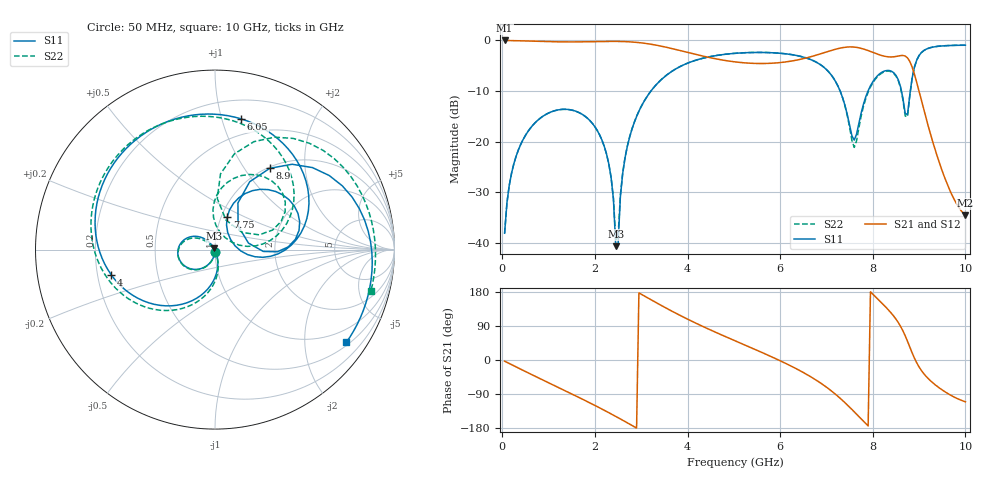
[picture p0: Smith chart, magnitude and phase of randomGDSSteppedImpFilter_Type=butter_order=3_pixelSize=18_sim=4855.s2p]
! freq	dB(S11)	phase(S11)	dB(S12)	phase(S12)
!  dB(S21)	phase(S21)	dB(S22)	phase(S22)
!S-par simulation data
#  GHz  S  DB  R 50
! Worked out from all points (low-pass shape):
!   200 points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, 50 MHz to 10 GHz, reference 50 ohm
!   highest |S21| = -0.01 dB at 50 MHz (marker M1); lowest = -34.6 dB at 10 GHz (marker M2)
!   |S21| within 3 dB of the highest: start of sweep to 4.287 GHz; 6.745 GHz to 8.201 GHz (1.456 GHz wide, 19.5 % of centre) (the widest 2 of 3)
!   lowest |S11| = -40.7 dB at 2.45 GHz (marker M3), VSWR 1.02, Z = 49.4 + j0.727 ohm
!   |S11| at or under -10 dB: start of sweep to 3.212 GHz; 7.295 GHz to 7.898 GHz (603.1 MHz wide, 7.94 % of centre); 8.619 GHz to 8.811 GHz (192.9 MHz wide, 2.21 % of centre)
!   |S22| runs from -39.4 to -0.9 dB; largest |S21 - S12| = 0
!   S11 on the Smith chart (normalised r, x): 50 MHz: 1.00, -0.02; 4 GHz: 0.26, -0.11; 6.05 GHz: 0.36, +1.16; 7.75 GHz: 1.07, +0.40; 8.9 GHz: 1.02, +1.32; 10 GHz: 0.58, -3.05
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0.05  -38.13 -92.6  -0.01 -3.1  -0.01 -3.1  -38.13 -92.5
0.2  -26.25 -102.3  -0.03 -12.3  -0.03 -12.3  -26.25 -102.0
0.55  -18.06 -124.3  -0.11 -33.4  -0.11 -33.4  -18.06 -123.4
1.75  -14.76 163.5  -0.27 -104.6  -0.27 -104.6  -14.76 167.0
2.25  -22.44 132.5  -0.19 -135.7  -0.19 -135.7  -22.44 139.2
2.4  -31.40 124.5  -0.19 -145.5  -0.19 -145.5  -31.30 137.8
2.45  -40.69 127.3  -0.19 -148.9  -0.19 -148.9  -39.40 157.0
2.75  -19.10 -83.1  -0.28 -169.2  -0.28 -169.2  -19.06 -81.2
3.4  -8.04 -127.8  -1.07 146.1  -1.07 146.1  -8.03 -122.5
4  -4.50 -166.5  -2.37 107.8  -2.37 107.8  -4.49 -159.4
5.05  -2.53 134.1  -4.27 49.4  -4.27 49.4  -2.53 144.7
6.05  -2.58 78.7  -4.33 -4.9  -4.33 -4.9  -2.58 93.0
6.7  -3.94 37.1  -3.13 -47.2  -3.13 -47.2  -3.93 53.4
7.3  -10.11 -6.9  -1.51 -101.5  -1.51 -101.5  -10.11 9.4
7.6  -19.71 32.5  -1.32 -136.7  -1.32 -136.7  -21.15 49.2
7.75  -14.32 69.4  -1.56 -155.4  -1.56 -155.4  -14.93 92.6
8.35  -5.95 23.6  -3.26 130.6  -3.26 130.6  -6.08 45.1
8.6  -9.17 -2.0  -3.00 88.9  -3.00 88.9  -9.38 18.8
8.75  -14.68 45.8  -3.44 49.4  -3.44 49.4  -15.11 69.6
8.9  -5.25 56.0  -6.70 4.8  -6.70 4.8  -5.28 78.5
9.3  -1.31 6.9  -20.20 -60.6  -20.20 -60.6  -1.31 28.2
10  -0.95 -35.2  -34.61 -110.3  -34.61 -110.3  -0.93 -15.0
